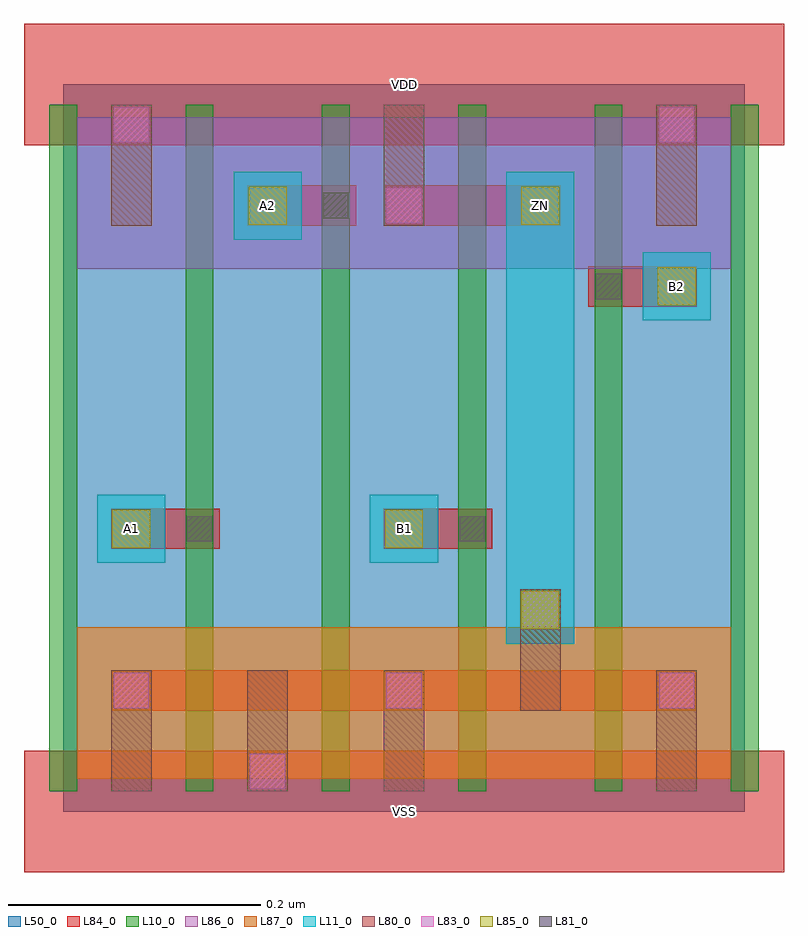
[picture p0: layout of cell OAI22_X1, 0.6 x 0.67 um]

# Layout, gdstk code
import gdstk
lib = gdstk.Library(unit=1e-6, precision=1e-09)
def R(c, l, rs):  # rectangles x0, y0, x1, y1
    for r in rs: c.add(gdstk.rectangle(r[:2], r[2:], *l))
def A(c, l, x, y, w, h, nx, ny, dx, dy):  # array of equal rectangles
    R(c, l, [(x+i*dx, y+j*dy, x+i*dx+w, y+j*dy+h) for i in range(nx) for j in range(ny)])
L10_0 = (10, 0)
L11_0 = (11, 0)
L50_0 = (50, 0)
L80_0 = (80, 0)
L81_0 = (81, 0)
L83_0 = (83, 0)
L84_0 = (84, 0)
L85_0 = (85, 0)
L86_0 = (86, 0)
L87_0 = (87, 0)

oai22_x1 = lib.new_cell('OAI22_X1')
A(oai22_x1, L10_0, -0.011, 0.016, 0.022, 0.544, 6, 1, 0.108, 0)
R(oai22_x1, L11_0, [(0.351,0.133,0.405,0.507), (0.027,0.197,0.081,0.251), (0.243,0.197,0.297,0.251), (0.459,0.389,0.513,0.443), (0.135,0.453,0.189,0.507)])
R(oai22_x1, L50_0, [(0,0,0.54,0.576)])
A(oai22_x1, L80_0, 0.038, 0.016, 0.032, 0.096, 3, 1, 0.108, 0)
A(oai22_x1, L80_0, 0.038, 0.464, 0.032, 0.096, 3, 1, 0.216, 0)
R(oai22_x1, L80_0, [(0.47,0.016,0.502,0.112), (0.362,0.08,0.394,0.176)])
R(oai22_x1, L81_0, [(0.098,0.214,0.118,0.234), (0.314,0.214,0.334,0.234), (0.422,0.406,0.442,0.426), (0.206,0.47,0.226,0.49)])
A(oai22_x1, L83_0, 0.04, 0.082, 0.028, 0.028, 3, 1, 0.216, 0)
R(oai22_x1, L83_0, [(0.148,0.018,0.176,0.046), (0.364,0.146,0.392,0.174), (0.256,0.466,0.284,0.494), (0.04,0.53,0.068,0.558), (0.472,0.53,0.5,0.558)])
R(oai22_x1, L84_0, [(-0.031,-0.048,0.571,0.048), (0.038,0.08,0.502,0.112), (0.362,0.144,0.394,0.176), (0.038,0.208,0.124,0.24), (0.254,0.208,0.34,0.24), (0.416,0.4,0.502,0.432), (0.146,0.464,0.232,0.496), (0.254,0.464,0.394,0.496), (-0.031,0.528,0.571,0.624)])
R(oai22_x1, L85_0, [(0.363,0.145,0.393,0.175), (0.039,0.209,0.069,0.239), (0.255,0.209,0.285,0.239), (0.471,0.401,0.501,0.431), (0.147,0.465,0.177,0.495), (0.363,0.465,0.393,0.495)])
R(oai22_x1, L86_0, [(0.011,0.43,0.529,0.55)])
R(oai22_x1, L87_0, [(0.011,0.026,0.529,0.146)])
oai22_x1.add(gdstk.Label('VDD', (0.27,0.576), layer=88, texttype=0))
oai22_x1.add(gdstk.Label('VSS', (0.27,0), layer=88, texttype=0))
oai22_x1.add(gdstk.Label('ZN', (0.378,0.48), layer=31, texttype=0))
oai22_x1.add(gdstk.Label('B1', (0.27,0.224), layer=31, texttype=0))
oai22_x1.add(gdstk.Label('B2', (0.486,0.416), layer=31, texttype=0))
oai22_x1.add(gdstk.Label('A2', (0.162,0.48), layer=31, texttype=0))
oai22_x1.add(gdstk.Label('A1', (0.054,0.224), layer=31, texttype=0))

lib.write_gds('OAI22_X1.gds')
